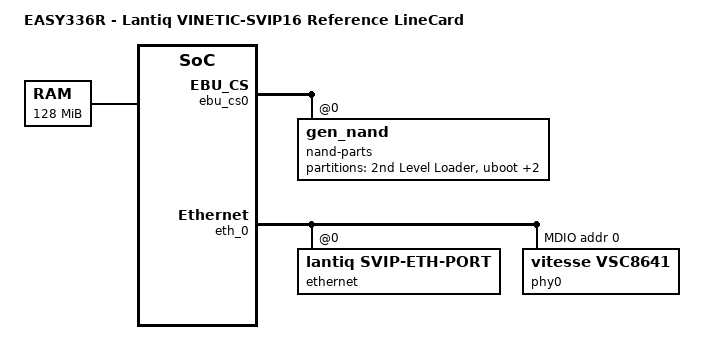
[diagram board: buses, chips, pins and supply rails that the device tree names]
/dts-v1/;

#include "svip.dtsi"

/ {
	model = "EASY336R - Lantiq VINETIC-SVIP16 Reference LineCard";
	compatible = "lantiq,easy336r", "lantiq,svip";

	memory@0 {
		device_type = "memory";
		reg = <0x0 0x8000000>;  // 128M at 0x0 
	};

	svip_reset@0 {
		compatible = "lantiq,svip-reset";
		svip-toggle-reset-pin = <0x120000f3 1>;
	};
};

&ebu_cs0 {
	nand-parts@0 {
		#address-cells = <1>;
		#size-cells = <1>;
		compatible = "gen_nand", "lantiq,nand-svip";
		bank-width = <1>;
		reg = <0x0 0x2000000>;
		linux,mtd-name = "gen_nand";
		bbt-use-flash;
		
		partition@0 {
			label = "2nd Level Loader";
			reg = <0x0 0x4000>;
		};
		
		partition@4000 {
			label = "uboot";
			reg = <0x4000 0x4C000>;
		};

		partition@50000 {
			label = "uboot_env";
			reg = <0x50000 0x10000>;
		};

		partition@60000 {
			label = "linux";
			reg = <0x60000 0x800000>;
		};
		
	};
};

&eth_0 {
	ethernet@0 {
		compatible = "lantiq,svip-eth-port";
		reg = <0>;
		phy-handle = <&phy0>;
	};

	mdio@0 {
		#address-cells = <1>;
		#size-cells = <0>;
		compatible = "lantiq,svip-mdio";
		phy0: ethernet-phy@0 {
			reg = <0x0>;
			compatible = "vitesse,vsc8641", "ethernet-phy-ieee802.3-c22";
		};
	};
};
